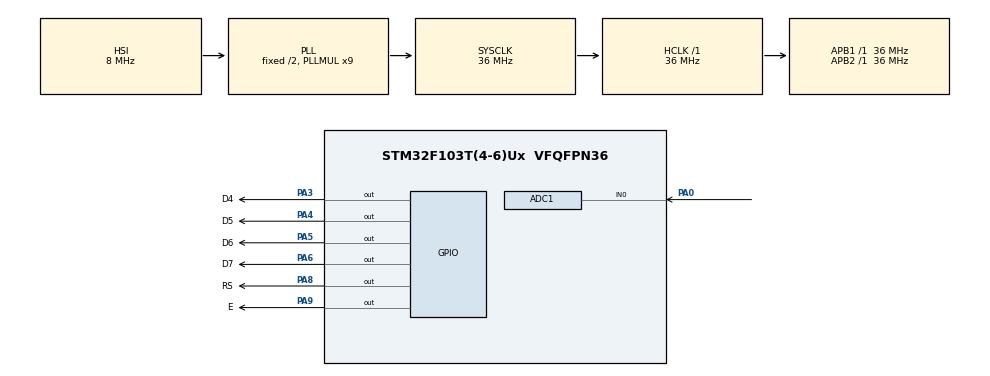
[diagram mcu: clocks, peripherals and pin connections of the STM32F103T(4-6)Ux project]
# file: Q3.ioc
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ADC1.Channel-0\#ChannelRegularConversion=ADC_CHANNEL_0
ADC1.ContinuousConvMode=ENABLE
ADC1.NbrOfConversionFlag=1
ADC1.Rank-0\#ChannelRegularConversion=1
ADC1.SamplingTime-0\#ChannelRegularConversion=ADC_SAMPLETIME_1CYCLE_5
ADC1.master=1
Mcu.Family=STM32F1
Mcu.Name=STM32F103T(4-6)Ux
Mcu.Package=VFQFPN36
NVIC.PriorityGroup=NVIC_PRIORITYGROUP_4
PA0-WKUP.Signal=ADCx_IN0
PA3.GPIO_Label=D4
PA3.Signal=GPIO_Output
PA4.GPIO_Label=D5
PA4.Signal=GPIO_Output
PA5.GPIO_Label=D6
PA5.Signal=GPIO_Output
PA6.GPIO_Label=D7
PA6.Signal=GPIO_Output
PA8.GPIO_Label=RS
PA8.Signal=GPIO_Output
PA9.GPIO_Label=E
PA9.Signal=GPIO_Output
ProjectManager.HeapSize=0x200
ProjectManager.StackSize=0x400
ProjectManager.TargetToolchain=STM32CubeIDE
RCC.ADCPresc=RCC_ADCPCLK2_DIV4
RCC.AHBFreq_Value=36000000
RCC.APB1Freq_Value=36000000
RCC.APB1TimFreq_Value=36000000
RCC.APB2Freq_Value=36000000
RCC.APB2TimFreq_Value=36000000
RCC.HCLKFreq_Value=36000000
RCC.PLLMUL=RCC_PLL_MUL9
RCC.SYSCLKFreq_VALUE=36000000
RCC.SYSCLKSource=RCC_SYSCLKSOURCE_PLLCLK
RCC.USBFreq_Value=36000000
SH.ADCx_IN0.0=ADC1_IN0,IN0
VP_SYS_VS_ND.Mode=No_Debug
board=custom

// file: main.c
/* USER CODE BEGIN Header */
/**
  ******************************************************************************
  * @file           : main.c
  * @brief          : Main program body
  ******************************************************************************
  * @attention
  *
  * Copyright (c) 2022 STMicroelectronics.
  * All rights reserved.
  *
  * This software is licensed under terms that can be found in the LICENSE file
  * in the root directory of this software component.
  * If no LICENSE file comes with this software, it is provided AS-IS.
  *
  ******************************************************************************
  */
/* USER CODE END Header */
#include "main.h"

/* USER CODE BEGIN Includes */
#include "lcd.h"
#include "stdio.h"
#include "math.h"
/* USER CODE END Includes */

 ADC_HandleTypeDef hadc1;

void SystemClock_Config(void);
static void MX_GPIO_Init(void);
static void MX_ADC1_Init(void);

/* USER CODE BEGIN 0 */
uint32_t adcVal;
/* USER CODE END 0 */

int main(void)
{

  /* MCU Configuration--------------------------------------------------------*/

  /* Reset of all peripherals, Initializes the Flash interface and the Systick. */
  HAL_Init();

  /* Configure the system clock */
  SystemClock_Config();

  /* Initialize all configured peripherals */
  MX_GPIO_Init();
  MX_ADC1_Init();
  /* USER CODE BEGIN 2 */
  Lcd_PortType ports [] = {
        		D4_GPIO_Port, D5_GPIO_Port, D6_GPIO_Port, D7_GPIO_Port
      };
      Lcd_PinType pins [] = {
        	   D4_Pin, D5_Pin, D6_Pin, D7_Pin
      };

      Lcd_HandleTypeDef lcd = Lcd_create(ports, pins, RS_GPIO_Port, RS_Pin, E_GPIO_Port, E_Pin, LCD_4_BIT_MODE);
      float Vref = 3.5;
      float weight = 0;
      float p1 = 1066;
      float p2 = -2.319;
      float p3 = 278.9;
      float p4 = -0.378;
      float voltage_val = 1.0;
      HAL_ADC_Start(&hadc1);
  /* USER CODE END 2 */

  /* Infinite loop */
  while (1)
  {

    /* USER CODE BEGIN 3 */
	  adcVal = HAL_ADC_GetValue(&hadc1);
	  Lcd_clear(&lcd);
	  Lcd_cursor(&lcd, 0, 0);
	  voltage_val = adcVal * Vref / 4095.0;
	  weight = (p1 * exp(p2 * voltage_val)) + (p3 * exp(p4 * voltage_val));
	  Lcd_float(&lcd, weight);
	  HAL_Delay(10);
  }
  /* USER CODE END 3 */
}

void SystemClock_Config(void)
{
  RCC_OscInitTypeDef RCC_OscInitStruct = {0};
  RCC_ClkInitTypeDef RCC_ClkInitStruct = {0};
  RCC_PeriphCLKInitTypeDef PeriphClkInit = {0};

  /** Initializes the RCC Oscillators according to the specified parameters
  * in the RCC_OscInitTypeDef structure.
  */
  RCC_OscInitStruct.OscillatorType = RCC_OSCILLATORTYPE_HSI;
  RCC_OscInitStruct.HSIState = RCC_HSI_ON;
  RCC_OscInitStruct.HSICalibrationValue = RCC_HSICALIBRATION_DEFAULT;
  RCC_OscInitStruct.PLL.PLLState = RCC_PLL_ON;
  RCC_OscInitStruct.PLL.PLLSource = RCC_PLLSOURCE_HSI_DIV2;
  RCC_OscInitStruct.PLL.PLLMUL = RCC_PLL_MUL9;
  if (HAL_RCC_OscConfig(&RCC_OscInitStruct) != HAL_OK)
  {
    Error_Handler();
  }

  /** Initializes the CPU, AHB and APB buses clocks
  */
  RCC_ClkInitStruct.ClockType = RCC_CLOCKTYPE_HCLK|RCC_CLOCKTYPE_SYSCLK
                              |RCC_CLOCKTYPE_PCLK1|RCC_CLOCKTYPE_PCLK2;
  RCC_ClkInitStruct.SYSCLKSource = RCC_SYSCLKSOURCE_PLLCLK;
  RCC_ClkInitStruct.AHBCLKDivider = RCC_SYSCLK_DIV1;
  RCC_ClkInitStruct.APB1CLKDivider = RCC_HCLK_DIV1;
  RCC_ClkInitStruct.APB2CLKDivider = RCC_HCLK_DIV1;

  if (HAL_RCC_ClockConfig(&RCC_ClkInitStruct, FLASH_LATENCY_1) != HAL_OK)
  {
    Error_Handler();
  }
  PeriphClkInit.PeriphClockSelection = RCC_PERIPHCLK_ADC;
  PeriphClkInit.AdcClockSelection = RCC_ADCPCLK2_DIV4;
  if (HAL_RCCEx_PeriphCLKConfig(&PeriphClkInit) != HAL_OK)
  {
    Error_Handler();
  }
}

static void MX_ADC1_Init(void)
{

  ADC_ChannelConfTypeDef sConfig = {0};

  /** Common config
  */
  hadc1.Instance = ADC1;
  hadc1.Init.ScanConvMode = ADC_SCAN_DISABLE;
  hadc1.Init.ContinuousConvMode = ENABLE;
  hadc1.Init.DiscontinuousConvMode = DISABLE;
  hadc1.Init.ExternalTrigConv = ADC_SOFTWARE_START;
  hadc1.Init.DataAlign = ADC_DATAALIGN_RIGHT;
  hadc1.Init.NbrOfConversion = 1;
  if (HAL_ADC_Init(&hadc1) != HAL_OK)
  {
    Error_Handler();
  }

  /** Configure Regular Channel
  */
  sConfig.Channel = ADC_CHANNEL_0;
  sConfig.Rank = ADC_REGULAR_RANK_1;
  sConfig.SamplingTime = ADC_SAMPLETIME_1CYCLE_5;
  if (HAL_ADC_ConfigChannel(&hadc1, &sConfig) != HAL_OK)
  {
    Error_Handler();
  }

}

static void MX_GPIO_Init(void)
{
  GPIO_InitTypeDef GPIO_InitStruct = {0};

  /* GPIO Ports Clock Enable */
  __HAL_RCC_GPIOA_CLK_ENABLE();

  /*Configure GPIO pin Output Level */
  HAL_GPIO_WritePin(GPIOA, D4_Pin|D5_Pin|D6_Pin|D7_Pin
                          |RS_Pin|E_Pin, GPIO_PIN_RESET);

  /*Configure GPIO pins : D4_Pin D5_Pin D6_Pin D7_Pin
                           RS_Pin E_Pin */
  GPIO_InitStruct.Pin = D4_Pin|D5_Pin|D6_Pin|D7_Pin
                          |RS_Pin|E_Pin;
  GPIO_InitStruct.Mode = GPIO_MODE_OUTPUT_PP;
  GPIO_InitStruct.Pull = GPIO_NOPULL;
  GPIO_InitStruct.Speed = GPIO_SPEED_FREQ_LOW;
  HAL_GPIO_Init(GPIOA, &GPIO_InitStruct);

}

void Error_Handler(void)
{
  __disable_irq();
  while (1)
  {
  }
}
